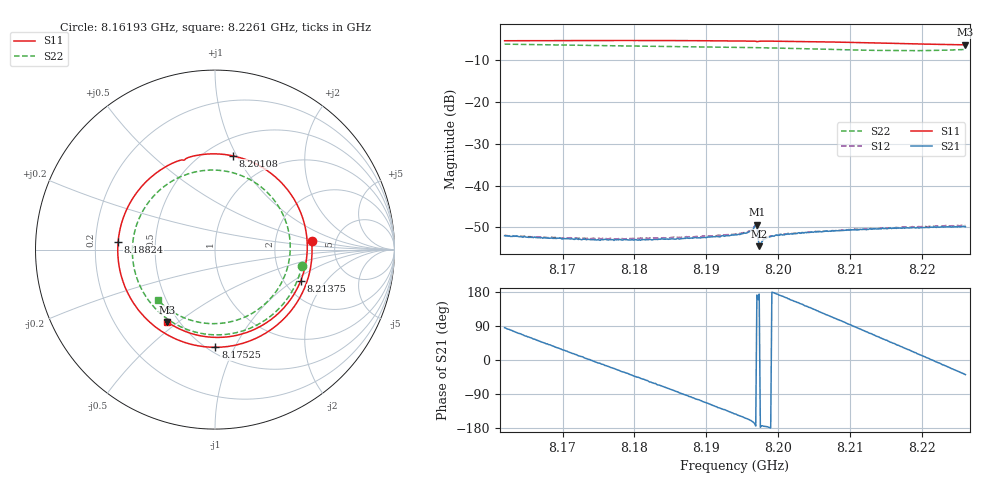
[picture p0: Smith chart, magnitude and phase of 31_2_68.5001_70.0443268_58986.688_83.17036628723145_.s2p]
#  HZ  S  RI  R  50.00
! Rohde & Schwarz Vector Network Analyzer
! Rohde-Schwarz,ZNB20-2Port,1311601062101988,3.16
! Created: UTC 3/20/2024, 5:05:05 PM
! freq[Hz]  re:S11  im:S11  re:S21  im:S21  re:S12  im:S12  re:S22  im:S22
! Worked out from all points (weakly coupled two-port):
!   401 points, 8.16193 GHz to 8.2261 GHz, reference 50 ohm
!   highest |S21| = -49.33 dB at 8.19707 GHz (marker M1); lowest = -54.5 dB at 8.19739 GHz (marker M2)
!   lowest |S11| = -6.3 dB at 8.2261 GHz (marker M3), VSWR 2.87, Z = 21.7 - j22.8 ohm
!   |S11| at or under -10 dB: nowhere
!   |S22| runs from -7.7 to -6.2 dB; largest |S21 - S12| = 0.00021
!   S11 on the Smith chart (normalised r, x): 8.16193 GHz: 3.28, +0.46; 8.17525 GHz: 0.54, -0.84; 8.18824 GHz: 0.30, +0.04; 8.20108 GHz: 0.66, +0.96; 8.21375 GHz: 2.45, -1.15; 8.2261 GHz: 0.43, -0.46
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8.161933e9  0.5379 0.05  0.000201 0.0025  0.000207 0.00256  0.4841 -0.0894
8.166906e9  0.4701 -0.2723  0.00156 0.00178  0.0016 0.00183  0.3418 -0.343
8.172681e9  0.1744 -0.5157  0.00222 0.000347  0.00231 0.000324  0.0405 -0.4742
8.175248e9  0.00229 -0.5444  0.00219 -0.000339  0.00228 -0.000411  -0.105 -0.4607
8.179098e9  -0.2524 -0.4818  0.00183 -0.0013  0.00186 -0.0014  -0.2971 -0.3618
8.18343e9  -0.4668 -0.2775  0.000931 -0.00209  0.000926 -0.00218  -0.4334 -0.1643
8.188242e9  -0.5396 0.0445  -0.000403 -0.00233  -0.000474 -0.00239  -0.4476 0.0993
8.19097e9  -0.49 0.2278  -0.00123 -0.00211  -0.0013 -0.00216  -0.3882 0.2381
8.194018e9  -0.3625 0.3983  -0.00203 -0.00157  -0.00214 -0.00154  -0.2716 0.3605
8.195782e9  -0.2605 0.4696  -0.0025 -0.00114  -0.00259 -0.00106  -0.1854 0.4089
8.196745e9  -0.1961 0.4971  -0.00316 -0.000687  -0.00323 -0.000581  -0.1342 0.4266
8.197066e9  -0.1734 0.4982  -0.00338 0.000509  -0.00346 0.000631  -0.1168 0.4311
8.197387e9  -0.1613 0.5072  -0.00187 0.000201  -0.00191 0.000285  -0.0991 0.4349
8.197708e9  -0.1385 0.5164  -0.00208 -0.000238  -0.00211 -0.000129  -0.0814 0.4382
8.19867e9  -0.0703 0.5297  -0.00242 -0.000113  -0.00247 -1.89e-06  -0.0271 0.443
8.201076e9  0.0993 0.5225  -0.00253 0.000692  -0.00249 0.000824  0.1085 0.4256
8.204766e9  0.3316 0.409  -0.00198 0.00195  -0.00191 0.00204  0.2906 0.3193
8.209419e9  0.501 0.1311  -0.000418 0.00289  -0.000308 0.00289  0.4144 0.0781
8.21375e9  0.4777 -0.1737  0.00139 0.00268  0.00146 0.0027  0.3726 -0.1806
8.215515e9  0.4161 -0.2846  0.00205 0.0023  0.00212 0.00228  0.3093 -0.2719
8.220969e9  0.0871 -0.4838  0.00313 0.000244  0.00324 0.000106  -0.0058 -0.4128
8.226103e9  -0.2667 -0.4025  0.00252 -0.00201  0.00253 -0.00217  -0.3187 -0.2806
